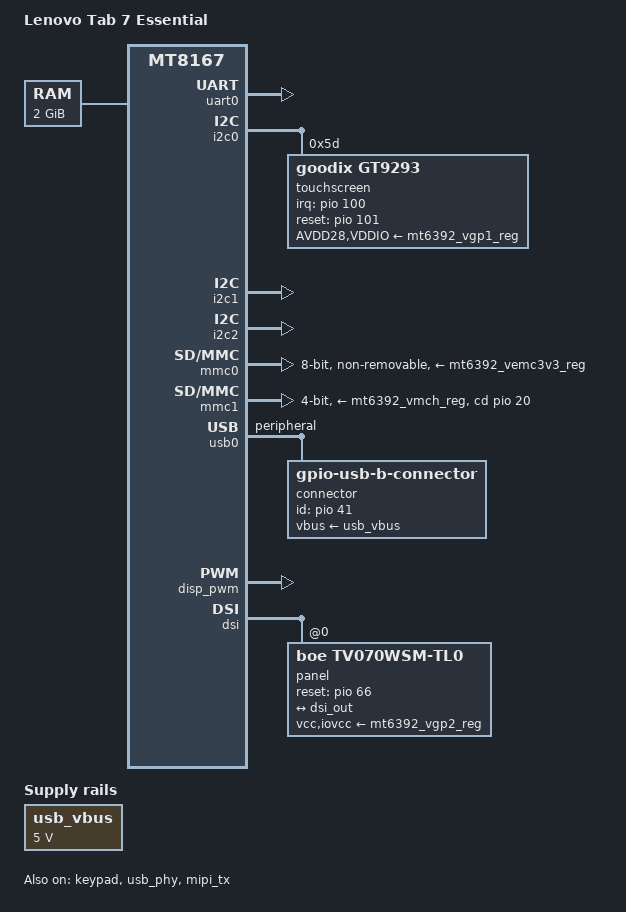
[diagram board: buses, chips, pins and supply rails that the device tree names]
// SPDX-License-Identifier: (GPL-2.0-only OR BSD-2-Clause)
/*
 * Copyright (c) 2024 Val Packett <val@packett.cool>
 */

/dts-v1/;

#include <dt-bindings/gpio/gpio.h>
#include <dt-bindings/input/input.h>
#include "mt8167.dtsi"
#include "mt6392.dtsi"

/ {
	model = "Lenovo Tab 7 Essential";
	chassis-type = "tablet";
	compatible = "lenovo,tb7304f", "mediatek,mt8167";

	aliases {
		serial0 = &uart0;
	};

	chosen {
		#address-cells = <2>;
		#size-cells = <2>;
		ranges;

		stdout-path = &uart0;
	};

	memory@40000000 {
		device_type = "memory";
		reg = <0 0x40000000 0 0x80000000>;
	};

	reserved-memory {
		pstore-reserved-memory@44410000 {
			reg = <0 0x44410000 0 0xe0000>;
			compatible = "ramoops";
			console-size = <0x10000>;
			record-size = <0x10000>;
		};
	};

	usb_vbus: regulator-usb-vbus {
		compatible = "regulator-fixed";
		regulator-name = "usb-vbus";
		regulator-min-microvolt = <5000000>;
		regulator-max-microvolt = <5000000>;
		enable-active-high;
		// XXX: it's the same pin as a DSI data line?? but it's definitely 3 in the vendor dtb??
		// gpio = <&pio 3 GPIO_ACTIVE_HIGH>; // low?
		// pinctrl-names = "default";
		// pinctrl-0 = <&usb0_drvvbus>;
	};
};

&pmic {
	interrupts-extended = <&pio 28 IRQ_TYPE_LEVEL_HIGH>;

	keys {
		key-home {
			linux,keycodes = <KEY_VOLUMEDOWN>;
		};
	};
};

/* With the firmware on Android devices, cores don't seem to come back after out
   idle/unplug (though initial SMP boot is fine) */

&cpu0 {
	/delete-property/ cpu-idle-states;
	proc-supply = <&mt6392_vproc_reg>;
};

&cpu1 {
	/delete-property/ cpu-idle-states;
	proc-supply = <&mt6392_vproc_reg>;
};

&cpu2 {
	/delete-property/ cpu-idle-states;
	proc-supply = <&mt6392_vproc_reg>;
};

&cpu3 {
	/delete-property/ cpu-idle-states;
	proc-supply = <&mt6392_vproc_reg>;
};

&keypad {
	status = "okay";
	linux,keymap = <MATRIX_KEY(0x00, 0x00, KEY_VOLUMEUP)>;
	keypad,num-rows = <1>;
	keypad,num-columns = <1>;
	debounce-delay-ms = <32>;
	mediatek,keys-per-group = <1>;
};

&pio {
	uart0_pins_default: uart0-default-pins {
		pins-rx {
			pinmux = <MT8167_PIN_62_URXD0__FUNC_URXD0>;
			input-enable;
			bias-pull-up;
		};
		pins-tx {
			pinmux = <MT8167_PIN_63_UTXD0__FUNC_UTXD0>;
		};
	};

	mmc0_pins_default: mmc0-default-pins {
		pins_cmd_dat {
			pinmux = <MT8167_PIN_120_MSDC0_DAT0__FUNC_MSDC0_DAT0>,
				<MT8167_PIN_119_MSDC0_DAT1__FUNC_MSDC0_DAT1>,
				<MT8167_PIN_118_MSDC0_DAT2__FUNC_MSDC0_DAT2>,
				<MT8167_PIN_117_MSDC0_DAT3__FUNC_MSDC0_DAT3>,
				<MT8167_PIN_113_MSDC0_DAT4__FUNC_MSDC0_DAT4>,
				<MT8167_PIN_112_MSDC0_DAT5__FUNC_MSDC0_DAT5>,
				<MT8167_PIN_111_MSDC0_DAT6__FUNC_MSDC0_DAT6>,
				<MT8167_PIN_110_MSDC0_DAT7__FUNC_MSDC0_DAT7>,
				<MT8167_PIN_115_MSDC0_CMD__FUNC_MSDC0_CMD>;
			input-enable;
			bias-pull-up;
		};

		pins_clk {
			pinmux = <MT8167_PIN_116_MSDC0_CLK__FUNC_MSDC0_CLK>;
			bias-pull-down;
		};

		pins_rst {
			pinmux = <MT8167_PIN_114_MSDC0_RSTB__FUNC_MSDC0_RSTB>;
			bias-pull-up;
		};
	};

	mmc0_pins_uhs: mmc0-uhs-pins {
		pins_cmd_dat {
			pinmux = <MT8167_PIN_120_MSDC0_DAT0__FUNC_MSDC0_DAT0>,
				<MT8167_PIN_119_MSDC0_DAT1__FUNC_MSDC0_DAT1>,
				<MT8167_PIN_118_MSDC0_DAT2__FUNC_MSDC0_DAT2>,
				<MT8167_PIN_117_MSDC0_DAT3__FUNC_MSDC0_DAT3>,
				<MT8167_PIN_113_MSDC0_DAT4__FUNC_MSDC0_DAT4>,
				<MT8167_PIN_112_MSDC0_DAT5__FUNC_MSDC0_DAT5>,
				<MT8167_PIN_111_MSDC0_DAT6__FUNC_MSDC0_DAT6>,
				<MT8167_PIN_110_MSDC0_DAT7__FUNC_MSDC0_DAT7>,
				<MT8167_PIN_115_MSDC0_CMD__FUNC_MSDC0_CMD>;
			input-enable;
			drive-strength = <MTK_DRIVE_6mA>;
			bias-pull-up = <MTK_PUPD_SET_R1R0_01>;
		};

		pins_clk {
			pinmux = <MT8167_PIN_116_MSDC0_CLK__FUNC_MSDC0_CLK>;
			drive-strength = <MTK_DRIVE_8mA>;
			bias-pull-down = <MTK_PUPD_SET_R1R0_10>;
		};

		pins_rst {
			pinmux = <MT8167_PIN_114_MSDC0_RSTB__FUNC_MSDC0_RSTB>;
			bias-pull-up;
		};
	};

	mmc1_pins_default: mmc1-default-pins {
		pins_cmd_dat {
			pinmux = <MT8167_PIN_106_MSDC1_DAT0__FUNC_MSDC1_DAT0>,
				<MT8167_PIN_107_MSDC1_DAT1__FUNC_MSDC1_DAT1>,
				<MT8167_PIN_108_MSDC1_DAT2__FUNC_MSDC1_DAT2>,
				<MT8167_PIN_109_MSDC1_DAT3__FUNC_MSDC1_DAT3>,
				<MT8167_PIN_104_MSDC1_CMD__FUNC_MSDC1_CMD>;
			input-enable;
			drive-strength = <MTK_DRIVE_6mA>;
			bias-pull-up = <MTK_PUPD_SET_R1R0_01>;
		};

		pins_clk {
			pinmux = <MT8167_PIN_105_MSDC1_CLK__FUNC_MSDC1_CLK>;
			drive-strength = <MTK_DRIVE_6mA>;
			bias-pull-down = <MTK_PUPD_SET_R1R0_10>;
		};

		pins_insert {
			pinmux = <MT8167_PIN_20_EINT20__FUNC_GPIO20>;
			bias-pull-up;
		};
	};

	mmc1_pins_uhs: mmc1-uhs-pins {
		pins_cmd_dat {
			pinmux = <MT8167_PIN_106_MSDC1_DAT0__FUNC_MSDC1_DAT0>,
				<MT8167_PIN_107_MSDC1_DAT1__FUNC_MSDC1_DAT1>,
				<MT8167_PIN_108_MSDC1_DAT2__FUNC_MSDC1_DAT2>,
				<MT8167_PIN_109_MSDC1_DAT3__FUNC_MSDC1_DAT3>,
				<MT8167_PIN_104_MSDC1_CMD__FUNC_MSDC1_CMD>;
			input-enable;
			drive-strength = <MTK_DRIVE_6mA>;
			bias-pull-up = <MTK_PUPD_SET_R1R0_01>;
		};

		pins_clk {
			pinmux = <MT8167_PIN_105_MSDC1_CLK__FUNC_MSDC1_CLK>;
			drive-strength = <MTK_DRIVE_8mA>;
			bias-pull-down = <MTK_PUPD_SET_R1R0_10>;
		};
	};

	i2c0_pins_a: i2c0-pins {
		pins1 {
			pinmux = <MT8167_PIN_58_SDA0__FUNC_SDA0_0>,
				 <MT8167_PIN_59_SCL0__FUNC_SCL0_0>;
			bias-disable;
		};
	};

	i2c1_pins_a: i2c1-pins {
		pins1 {
			pinmux = <MT8167_PIN_52_SDA1__FUNC_SDA1_0>,
				 <MT8167_PIN_53_SCL1__FUNC_SCL1_0>;
			bias-disable;
		};
	};

	i2c2_pins_a: i2c2-pins {
		pins1 {
			pinmux = <MT8167_PIN_60_SDA2__FUNC_SDA2_0>,
				 <MT8167_PIN_61_SCL2__FUNC_SCL2_0>;
			bias-disable;
		};
	};

	// usb0_drvvbus: drvvbus_init {
		// pins_cmd_dat {
		// 	pinmux = <MT8167_PIN_3_EINT3__FUNC_GPIO3>;
		// 	output-low;
		// };
	// };

	usb0_iddig: iddig-irq-init-pins {
		pins_cmd_dat {
			pinmux = <MT8167_PIN_41_KPROW1__FUNC_IDDIG>;
			// slew-rate = <0>; // Not supported in the driver
			bias-pull-up = <0>;
		};
	};

	panel_pins: panel-pins {
		pins_rst {
			pinmux = <MT8167_PIN_66_LCM_RST__FUNC_GPIO66>;
				 // <MT8167_PIN_68_MSDC2_CMD__FUNC_GPIO68>;
		};

		pins_pwr { // XXX: "gpio_lcd_pwr" in vendor dtb; regulator or what??
			pinmux = <MT8167_PIN_25_EINT25__FUNC_GPIO25>;
			output-high;
		};
	};

	touch_pins: touch-pins {
		pins_cmd_dat {
			pinmux = <MT8167_PIN_100_CMDAT0__FUNC_GPIO100>,
				<MT8167_PIN_101_CMDAT1__FUNC_GPIO101>;
			// slew-rate = <0>; // Not supported in the driver
			bias-disable;
		};
	};
};

&uart0 {
	pinctrl-names = "default";
	pinctrl-0 = <&uart0_pins_default>;
	status = "okay";
};

&i2c0 {
	status = "okay";
	pinctrl-names = "default";
	pinctrl-0 = <&i2c0_pins_a>;

	touchscreen@5d {
		compatible = "goodix,gt9293", "goodix,gt917s";
		reg = <0x5d>;
		interrupts-extended = <&pio 100 IRQ_TYPE_LEVEL_HIGH>;
		irq-gpios = <&pio 100 GPIO_ACTIVE_HIGH>;
		reset-gpios = <&pio 101 GPIO_ACTIVE_HIGH>;
		AVDD28-supply = <&mt6392_vgp1_reg>;
		VDDIO-supply = <&mt6392_vgp1_reg>;
		touchscreen-size-x = <600>;
		touchscreen-size-y = <1024>;
		pinctrl-names = "default";
		pinctrl-0 = <&touch_pins>;
	};
};

&i2c1 {
	status = "okay";
	pinctrl-names = "default";
	pinctrl-0 = <&i2c1_pins_a>;
};

&i2c2 {
	status = "okay";
	pinctrl-names = "default";
	pinctrl-0 = <&i2c2_pins_a>;
};

&mmc0 {
	status = "okay";
	pinctrl-names = "default", "state_uhs";
	pinctrl-0 = <&mmc0_pins_default>;
	pinctrl-1 = <&mmc0_pins_uhs>;
	bus-width = <8>;
	max-frequency = <200000000>;
	cap-mmc-highspeed;
	mmc-hs200-1_8v;
	cap-mmc-hw-reset;
	vmmc-supply = <&mt6392_vemc3v3_reg>;
	vqmmc-supply = <&mt6392_vio18_reg>;
	non-removable;
};

&mmc1 {
	status = "okay";
	pinctrl-names = "default", "state_uhs";
	pinctrl-0 = <&mmc1_pins_default>;
	pinctrl-1 = <&mmc1_pins_uhs>;
	bus-width = <4>;
	max-frequency = <200000000>;
	cap-sd-highspeed;
	sd-uhs-sdr50;
	sd-uhs-sdr104;
	cd-gpios = <&pio 20 0>;
	vmmc-supply = <&mt6392_vmch_reg>;
	vqmmc-supply = <&mt6392_vmc_reg>;
};

&usb0 {
	status = "okay";
	pinctrl-names = "default";
	pinctrl-0 = <&usb0_iddig>;
	vusb33-supply = <&mt6392_vusb_reg>;
	maximum-speed = "high-speed";
	dr_mode = "peripheral";
	usb-role-switch;

	connector {
		compatible = "gpio-usb-b-connector", "usb-b-connector";
		id-gpios = <&pio 41 GPIO_ACTIVE_HIGH>;
		type = "micro";
		vbus-supply = <&usb_vbus>;
	};
};

&usb_phy {
	status = "okay";
};

&disp_pwm {
	status = "okay";
};

&mipi_tx {
	status = "okay";
};

&dsi {
	status = "okay";
	#address-cells = <1>;
	#size-cells = <0>;

	panel: panel@0 {
		compatible = "boe,tv070wsm-tl0", "himax,hx8394";
		reg = <0>;
		vcc-supply = <&mt6392_vgp2_reg>;
		iovcc-supply = <&mt6392_vgp2_reg>;
		reset-gpios = <&pio 66 GPIO_ACTIVE_HIGH>;
		rotation = <270>;
		pinctrl-names = "default";
		pinctrl-0 = <&panel_pins>;

		port {
			panel_in: endpoint {
				remote-endpoint = <&dsi_out>;
			};
		};
	};
};

&dsi_out {
	remote-endpoint = <&panel_in>;
};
